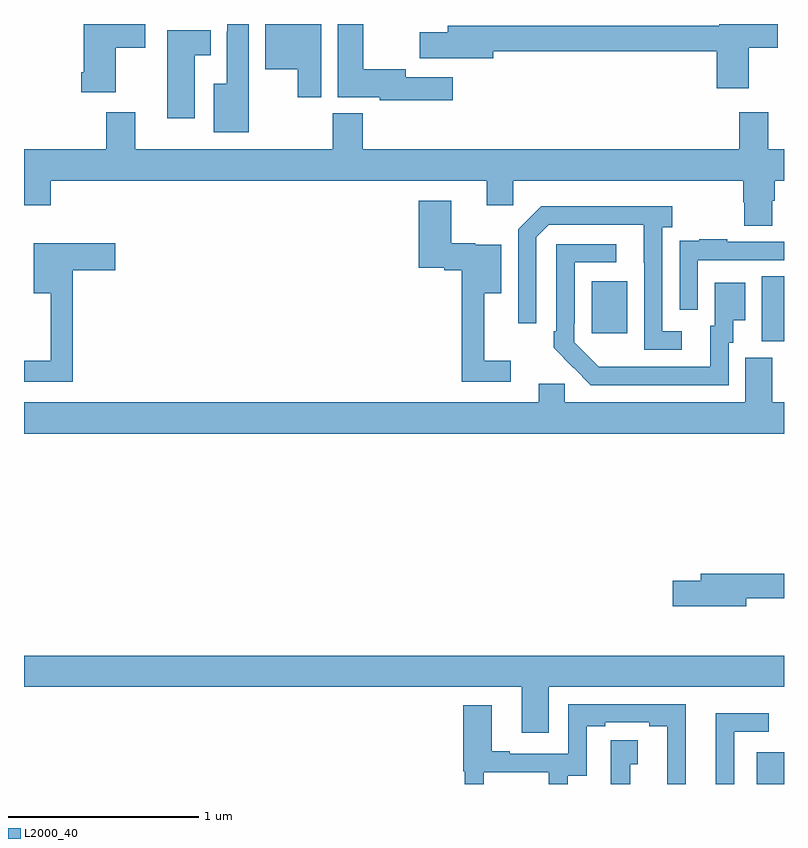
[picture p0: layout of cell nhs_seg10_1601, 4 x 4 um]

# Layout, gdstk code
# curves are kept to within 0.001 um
import gdstk
lib = gdstk.Library(unit=1e-6, precision=1e-09)
def R(c, l, rs):  # rectangles x0, y0, x1, y1
    for r in rs: c.add(gdstk.rectangle(r[:2], r[2:], *l))
def P(c, l, *ps):  # polygons
    for p in ps: c.add(gdstk.Polygon(p, *l))
L2000_40 = (2000, 40)

nhs_seg10_1601 = lib.new_cell('nhs_seg10_1601')
R(nhs_seg10_1601, L2000_40, [(198.857,1270.5,199,1270.666), (198.884,1272.829,199,1273.172), (197.987,1272.873,198.175,1273.147)])
P(nhs_seg10_1601, L2000_40, [(196.183,1274.5),(196.071,1274.5),(196.071,1274.459),(196.067,1274.459),(196.067,1274.185),(195.998,1274.185),(195.998,1273.931),(196.183,1273.931)],
  [(195.484,1274.374),(195.637,1274.374),(195.637,1274.5),(195.314,1274.5),(195.314,1274.245),(195.302,1274.245),(195.302,1274.141),(195.484,1274.141)],
  [(196.564,1274.5),(196.271,1274.5),(196.271,1274.261),(196.442,1274.261),(196.442,1274.115),(196.564,1274.115)],
  [(197.257,1274.221),(197.008,1274.221),(197.008,1274.263),(196.786,1274.263),(196.786,1274.5),(196.652,1274.5),(196.652,1274.114),(196.872,1274.114),(196.872,1274.099),(197.257,1274.099)],
  [(198.814,1274.374),(198.967,1274.374),(198.967,1274.5),(198.659,1274.5),(198.659,1274.492),(197.231,1274.492),(197.231,1274.456),(197.082,1274.456),(197.082,1274.321),(197.47,1274.321),(197.47,1274.356),(198.647,1274.356),(198.647,1274.163),(198.814,1274.163)],
  [(195.898,1274.336),(195.982,1274.336),(195.982,1274.467),(195.755,1274.467),(195.755,1274.004),(195.898,1274.004)],
  [(198.937,1273.57),(198.95,1273.57),(198.95,1273.676),(199,1273.676),(199,1273.84),(198.916,1273.84),(198.916,1274.035),(198.764,1274.035),(198.764,1273.84),(196.784,1273.84),(196.784,1274.029),(196.624,1274.029),(196.624,1273.84),(195.586,1273.84),(195.586,1274.035),(195.434,1274.035),(195.434,1273.84),(195,1273.84),(195,1273.545),(195.14,1273.545),(195.14,1273.676),(197.435,1273.676),(197.435,1273.545),(197.574,1273.545),(197.574,1273.676),(198.785,1273.676),(198.785,1273.563),(198.79,1273.563),(198.79,1273.438),(198.937,1273.438)],
  [(197.563,1272.727),(197.423,1272.727),(197.423,1273.082),(197.512,1273.082),(197.512,1273.339),(197.376,1273.339),(197.376,1273.347),(197.248,1273.347),(197.248,1273.57),(197.078,1273.57),(197.078,1273.217),(197.211,1273.217),(197.211,1273.205),(197.305,1273.205),(197.305,1272.618),(197.563,1272.618)],
  [(198.463,1272.882),(198.36,1272.882),(198.36,1273.43),(198.412,1273.43),(198.412,1273.54),(197.722,1273.54),(197.601,1273.419),(197.601,1272.924),(197.697,1272.924),(197.697,1273.377),(197.763,1273.443),(198.263,1273.443),(198.264,1272.786),(198.463,1272.786)],
  [(198.546,1273.257),(199,1273.257),(199,1273.353),(198.701,1273.353),(198.701,1273.366),(198.553,1273.366),(198.553,1273.359),(198.451,1273.359),(198.451,1273.25),(198.45,1273.25),(198.45,1272.996),(198.546,1272.996)],
  [(195.257,1273.205),(195.481,1273.205),(195.481,1273.347),(195.05,1273.347),(195.05,1273.082),(195.14,1273.082),(195.14,1272.727),(195,1272.727),(195,1272.618),(195.257,1272.618)],
  [(198.708,1272.822),(198.733,1272.822),(198.733,1272.941),(198.796,1272.941),(198.796,1273.138),(198.635,1273.138),(198.635,1272.912),(198.611,1272.912),(198.611,1272.696),(198.024,1272.697),(197.895,1272.825),(197.895,1272.925),(197.898,1272.925),(197.898,1273.245),(198.118,1273.245),(198.118,1273.341),(197.802,1273.341),(197.802,1272.883),(197.787,1272.883),(197.787,1272.795),(197.984,1272.6),(198.708,1272.6)],
  [(199,1272.508),(198.937,1272.508),(198.937,1272.744),(198.797,1272.744),(198.797,1272.508),(197.847,1272.508),(197.847,1272.606),(197.708,1272.606),(197.708,1272.508),(195,1272.508),(195,1272.344),(199,1272.344)],
  [(198.802,1271.478),(199,1271.478),(199,1271.606),(198.563,1271.606),(198.563,1271.57),(198.414,1271.57),(198.414,1271.435),(198.802,1271.435)],
  [(197.761,1271.012),(199,1271.012),(199,1271.176),(195,1271.176),(195,1271.012),(197.621,1271.012),(197.621,1270.77),(197.761,1270.77)],
  [(197.421,1270.563),(197.763,1270.563),(197.763,1270.5),(197.862,1270.5),(197.862,1270.543),(197.961,1270.543),(197.961,1270.804),(198.058,1270.804),(198.058,1270.824),(198.29,1270.824),(198.29,1270.804),(198.386,1270.804),(198.386,1270.5),(198.484,1270.5),(198.484,1270.92),(197.865,1270.92),(197.865,1270.659),(197.557,1270.659),(197.557,1270.672),(197.461,1270.672),(197.461,1270.915),(197.312,1270.915),(197.312,1270.566),(197.32,1270.566),(197.32,1270.5),(197.421,1270.5)],
  [(198.738,1270.776),(198.919,1270.776),(198.919,1270.873),(198.641,1270.873),(198.641,1270.5),(198.738,1270.5)],
  [(198.19,1270.604),(198.229,1270.604),(198.229,1270.729),(198.089,1270.729),(198.089,1270.5),(198.19,1270.5)])

lib.write_gds('nhs_seg10_1601.gds')
